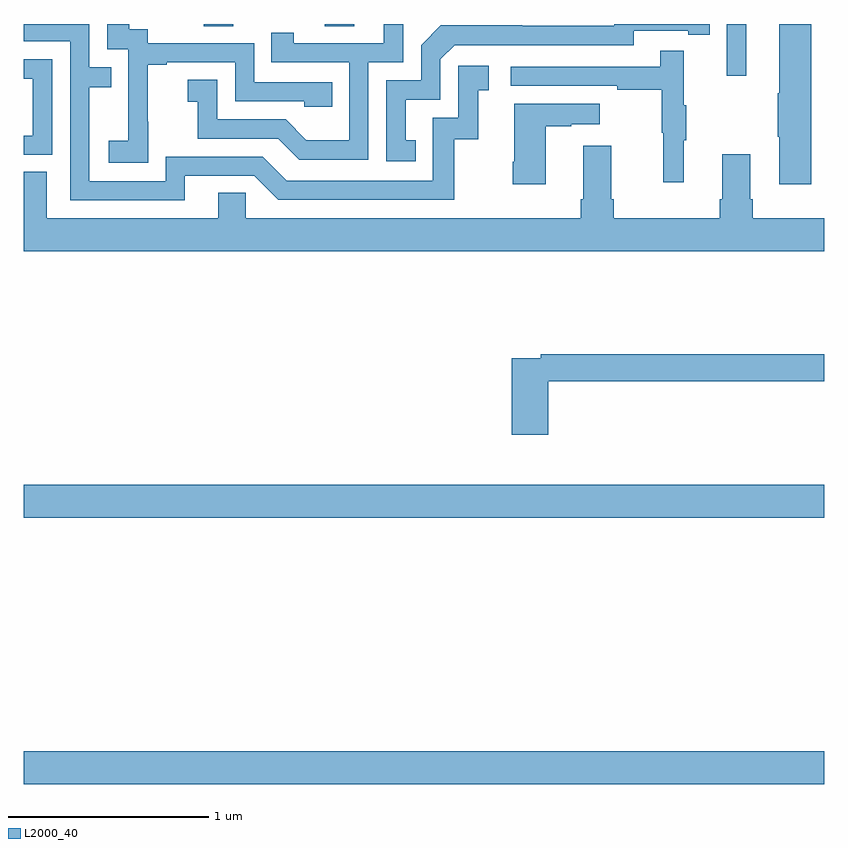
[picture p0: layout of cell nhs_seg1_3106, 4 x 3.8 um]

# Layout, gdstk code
import gdstk
lib = gdstk.Library(unit=1e-6, precision=1e-09)
def R(c, l, rs):  # rectangles x0, y0, x1, y1
    for r in rs: c.add(gdstk.rectangle(r[:2], r[2:], *l))
def P(c, l, *ps):  # polygons
    for p in ps: c.add(gdstk.Polygon(p, *l))
L2000_40 = (2000, 40)

nhs_seg1_3106 = lib.new_cell('nhs_seg1_3106')
R(nhs_seg1_3106, L2000_40, [(279,550.4,283,550.564), (279,551.732,283,551.896), (282.513,553.941,282.61,554.199), (279.899,554.188,280.047,554.199), (280.504,554.188,280.651,554.199)])
P(nhs_seg1_3106, L2000_40, [(282.935,554.199),(282.776,554.199),(282.776,553.853),(282.769,553.853),(282.769,553.636),(282.776,553.636),(282.776,553.398),(282.935,553.398)],
  [(279.621,553.711),(279.62,553.711),(279.62,553.995),(279.715,553.995),(279.715,554.007),(280.056,554.007),(280.056,553.812),(280.401,553.812),(280.401,553.785),(280.541,553.785),(280.541,553.908),(280.152,553.908),(280.152,554.103),(279.618,554.103),(279.618,554.172),(279.526,554.172),(279.526,554.199),(279.417,554.199),(279.417,554.073),(279.522,554.073),(279.522,553.844),(279.521,553.844),(279.521,553.615),(279.423,553.615),(279.423,553.505),(279.621,553.505)],
  [(280.958,553.617),(280.909,553.617),(280.909,553.821),(281.082,553.821),(281.082,554.022),(281.154,554.094),(282.048,554.094),(282.048,554.166),(282.32,554.166),(282.32,554.146),(282.428,554.146),(282.428,554.199),(281.952,554.199),(281.952,554.19),(281.492,554.19),(281.492,554.192),(281.084,554.192),(280.986,554.094),(280.986,553.917),(280.812,553.917),(280.812,553.512),(280.958,553.512)],
  [(280.722,554.007),(280.896,554.007),(280.896,554.199),(280.799,554.199),(280.799,554.103),(280.348,554.103),(280.348,554.155),(280.237,554.155),(280.237,554.007),(280.626,554.007),(280.626,553.618),(280.412,553.618),(280.308,553.722),(279.966,553.722),(279.966,553.921),(279.819,553.921),(279.819,553.811),(279.868,553.811),(279.868,553.626),(280.271,553.626),(280.376,553.521),(280.722,553.521)],
  [(279.805,553.44),(280.152,553.44),(280.272,553.32),(281.152,553.32),(281.152,553.623),(281.27,553.623),(281.27,553.869),(281.323,553.869),(281.323,553.99),(281.172,553.99),(281.172,553.731),(281.043,553.731),(281.043,553.416),(280.314,553.416),(280.194,553.536),(279.708,553.536),(279.708,553.413),(279.327,553.413),(279.327,553.882),(279.437,553.882),(279.437,553.983),(279.327,553.983),(279.327,554.199),(279,554.199),(279,554.112),(279.231,554.112),(279.231,553.317),(279.805,553.317)],
  [(282.299,553.619),(282.31,553.619),(282.31,553.793),(282.299,553.793),(282.299,554.065),(282.181,554.065),(282.181,553.986),(281.433,553.986),(281.433,553.89),(281.965,553.89),(281.965,553.87),(282.189,553.87),(282.189,553.656),(282.196,553.656),(282.196,553.407),(282.299,553.407)],
  [(279.141,554.022),(279,554.022),(279,553.926),(279.045,553.926),(279.045,553.641),(279,553.641),(279,553.545),(279.141,553.545)],
  [(281.608,553.687),(281.735,553.687),(281.735,553.697),(281.878,553.697),(281.878,553.801),(281.45,553.801),(281.45,553.51),(281.443,553.51),(281.443,553.398),(281.608,553.398)],
  [(283,553.228),(282.644,553.228),(282.644,553.324),(282.631,553.324),(282.631,553.549),(282.491,553.549),(282.491,553.324),(282.479,553.324),(282.479,553.228),(281.948,553.228),(281.948,553.324),(281.935,553.324),(281.935,553.591),(281.795,553.591),(281.795,553.324),(281.783,553.324),(281.783,553.228),(280.11,553.228),(280.11,553.355),(279.971,553.355),(279.971,553.228),(279.115,553.228),(279.115,553.46),(279,553.46),(279,553.064),(283,553.064)],
  [(281.621,552.412),(283,552.412),(283,552.548),(281.584,552.548),(281.584,552.528),(281.438,552.528),(281.438,552.147),(281.621,552.147)])

lib.write_gds('nhs_seg1_3106.gds')
